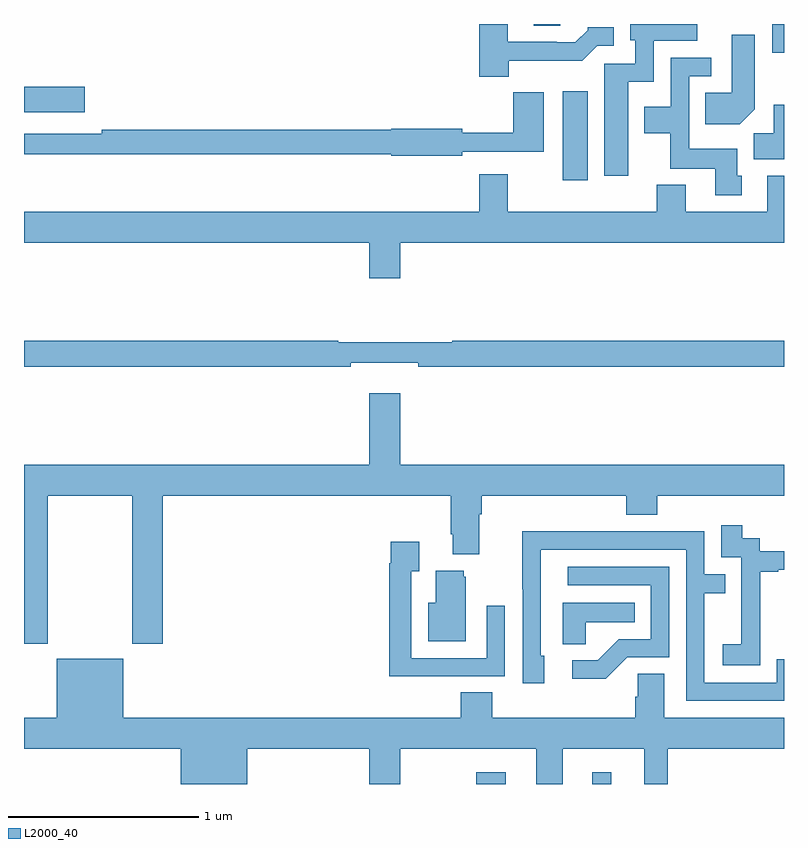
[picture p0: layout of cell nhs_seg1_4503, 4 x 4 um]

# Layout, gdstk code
import gdstk
lib = gdstk.Library(unit=1e-6, precision=1e-09)
def R(c, l, rs):  # rectangles x0, y0, x1, y1
    for r in rs: c.add(gdstk.rectangle(r[:2], r[2:], *l))
def P(c, l, *ps):  # polygons
    for p in ps: c.add(gdstk.Polygon(p, *l))
L2000_40 = (2000, 40)

nhs_seg1_4503 = lib.new_cell('nhs_seg1_4503')
R(nhs_seg1_4503, L2000_40, [(357.38,566.199,357.535,566.26), (357.992,566.199,358.09,566.26), (357.836,569.376,357.967,569.845), (355,569.735,355.321,569.87), (358.938,570.048,359,570.199), (357.683,570.19,357.823,570.199)])
P(nhs_seg1_4503, L2000_40, [(357.55,570.006),(357.939,570.006),(358.017,570.084),(358.105,570.084),(358.105,570.181),(357.966,570.181),(357.966,570.166),(357.902,570.102),(357.803,570.102),(357.803,570.105),(357.547,570.105),(357.547,570.199),(357.395,570.199),(357.395,569.921),(357.55,569.921)],
  [(358.18,569.894),(358.314,569.894),(358.314,570.11),(358.543,570.11),(358.543,570.199),(358.19,570.199),(358.19,570.114),(358.218,570.114),(358.218,569.991),(358.055,569.991),(358.055,569.4),(358.18,569.4)],
  [(358.846,569.75),(358.846,570.142),(358.724,570.142),(358.724,569.836),(358.585,569.836),(358.585,569.672),(358.768,569.672)],
  [(358.777,569.4),(358.753,569.4),(358.753,569.542),(358.5,569.542),(358.5,569.925),(358.618,569.925),(358.618,570.021),(358.404,570.021),(358.404,569.764),(358.265,569.764),(358.265,569.624),(358.402,569.624),(358.402,569.438),(358.637,569.438),(358.637,569.298),(358.777,569.298)],
  [(357.306,569.526),(357.736,569.526),(357.736,569.839),(357.574,569.839),(357.574,569.627),(357.306,569.627),(357.306,569.648),(356.934,569.648),(356.934,569.642),(355.408,569.642),(355.408,569.622),(355,569.622),(355,569.514),(356.934,569.514),(356.934,569.506),(357.306,569.506)],
  [(359,569.773),(358.946,569.773),(358.946,569.624),(358.841,569.624),(358.841,569.486),(359,569.486)],
  [(356.98,569.048),(359,569.048),(359,569.401),(358.913,569.401),(358.913,569.212),(358.483,569.212),(358.483,569.353),(358.331,569.353),(358.331,569.212),(357.547,569.212),(357.547,569.407),(357.395,569.407),(357.395,569.212),(355,569.212),(355,569.048),(356.816,569.048),(356.816,568.86),(356.98,568.86)],
  [(356.72,568.415),(357.076,568.415),(357.076,568.396),(359,568.396),(359,568.532),(357.255,568.532),(357.255,568.525),(356.655,568.525),(356.655,568.532),(355,568.532),(355,568.396),(356.72,568.396)],
  [(356.98,568.255),(356.816,568.255),(356.816,567.88),(355,567.88),(355,566.937),(355.125,566.937),(355.125,567.716),(355.57,567.716),(355.57,566.937),(355.73,566.937),(355.73,567.716),(357.245,567.716),(357.245,567.514),(357.257,567.514),(357.257,567.407),(357.397,567.407),(357.397,567.62),(357.41,567.62),(357.41,567.716),(358.169,567.716),(358.169,567.617),(358.334,567.617),(358.334,567.716),(359,567.716),(359,567.88),(356.98,567.88)],
  [(358.875,567.031),(358.874,567.031),(358.874,567.315),(358.969,567.315),(358.969,567.327),(359,567.327),(359,567.423),(358.872,567.423),(358.872,567.492),(358.78,567.492),(358.78,567.562),(358.671,567.562),(358.671,567.393),(358.776,567.393),(358.776,567.164),(358.775,567.164),(358.775,566.935),(358.677,566.935),(358.677,566.825),(358.875,566.825)],
  [(359,566.856),(358.962,566.856),(358.962,566.733),(358.581,566.733),(358.581,567.202),(358.691,567.202),(358.691,567.303),(358.581,567.303),(358.581,567.528),(358.085,567.528),(358.085,567.53),(357.622,567.53),(357.622,567.223),(357.624,567.223),(357.624,566.73),(357.739,566.73),(357.739,566.874),(357.72,566.874),(357.72,567.432),(358.485,567.432),(358.485,566.637),(359,566.637)],
  [(357.215,566.766),(357.531,566.766),(357.531,567.136),(357.435,567.136),(357.435,566.862),(357.039,566.862),(357.039,567.319),(357.079,567.319),(357.079,567.475),(356.931,567.475),(356.931,567.362),(356.923,567.362),(356.923,566.765),(357.215,566.765)],
  [(358.176,566.865),(358.395,566.865),(358.395,567.342),(357.861,567.342),(357.861,567.246),(358.299,567.246),(358.299,566.961),(358.13,566.961),(358.019,566.85),(357.885,566.85),(357.885,566.753),(358.063,566.753)],
  [(357.325,567.291),(357.314,567.291),(357.314,567.322),(357.167,567.322),(357.167,567.154),(357.128,567.154),(357.128,566.951),(357.325,566.951)],
  [(357.957,567.05),(358.214,567.05),(358.214,567.154),(357.836,567.154),(357.836,566.935),(357.957,566.935)],
  [(356.176,566.384),(356.816,566.384),(356.816,566.199),(356.98,566.199),(356.98,566.384),(357.695,566.384),(357.695,566.199),(357.835,566.199),(357.835,566.384),(358.265,566.384),(358.265,566.199),(358.387,566.199),(358.387,566.384),(359,566.384),(359,566.548),(358.369,566.548),(358.369,566.78),(358.23,566.78),(358.23,566.657),(358.217,566.657),(358.217,566.548),(357.464,566.548),(357.464,566.681),(357.299,566.681),(357.299,566.548),(355.522,566.548),(355.522,566.857),(355.172,566.857),(355.172,566.548),(355,566.548),(355,566.384),(355.826,566.384),(355.826,566.199),(356.176,566.199)])

lib.write_gds('nhs_seg1_4503.gds')
